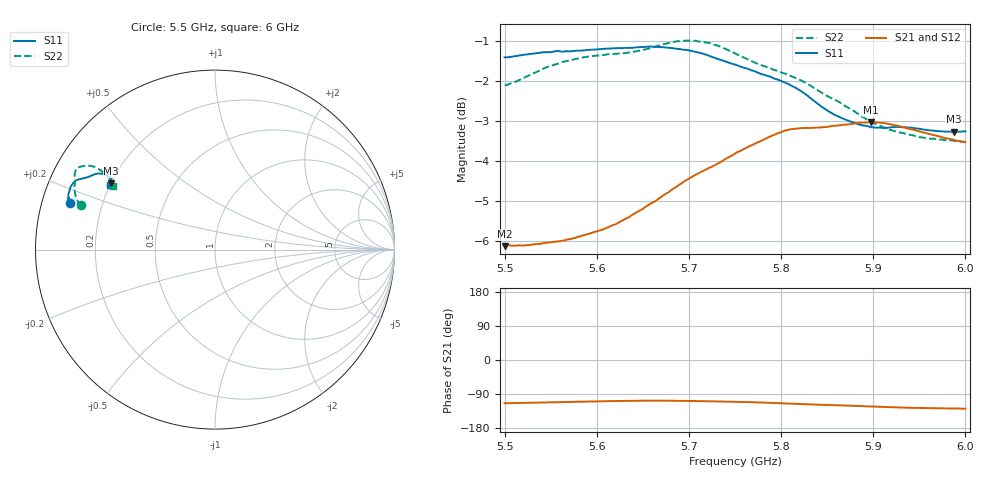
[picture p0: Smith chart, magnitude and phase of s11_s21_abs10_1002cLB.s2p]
! MS46122B
! 1919307/90821646
! 7/29/2022 12:58:50 PM
! C:\USERS\PC_\DESKTOP\MEDICIONES\BANCHA ESTRECHA\55_6GHZ\S11_S21_ABS10_1002CL.S2P
! CHANNEL.1
! TR.MEASUREMENT
! CORRECTED.DATA
# GHZ S RI R 50.0
! FREQ.GHZ  S11RE  S11IM  S21RE  S21IM  S12RE  S12IM  S22RE  S22IM
!; PortSelection: Port_12
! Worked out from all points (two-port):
!   201 points, 5.5 GHz to 6 GHz, reference 50 ohm
!   highest |S21| = -3.03 dB at 5.897 GHz (marker M1); lowest = -6.1 dB at 5.5 GHz (marker M2)
!   |S21| within 3 dB of the highest: 5.551 GHz to end of sweep
!   lowest |S11| = -3.3 dB at 5.987 GHz (marker M3), VSWR 5.37, Z = 10.1 + j14 ohm
!   |S11| at or under -10 dB: nowhere
!   |S22| runs from -3.5 to -1.0 dB; largest |S21 - S12| = 0.015
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5.5  -0.8099 0.2591  -0.2003 -0.4511  -0.1965 -0.4524  -0.7445 0.2471
5.5125  -0.8121 0.2628  -0.197 -0.4534  -0.1904 -0.4531  -0.7522 0.2512
5.5225  -0.8143 0.2673  -0.193 -0.4556  -0.1862 -0.4556  -0.76 0.2606
5.55  -0.8155 0.2824  -0.1827 -0.4645  -0.1741 -0.4657  -0.7757 0.2945
5.585  -0.8162 0.2928  -0.1738 -0.4785  -0.1649 -0.483  -0.7825 0.3323
5.6275  -0.8148 0.313  -0.1646 -0.505  -0.1574 -0.5093  -0.7811 0.3602
5.6675  -0.8007 0.3545  -0.169 -0.5405  -0.1617 -0.5454  -0.7813 0.4045
5.685  -0.7893 0.371  -0.1771 -0.5567  -0.1705 -0.5612  -0.7818 0.425
5.7025  -0.7768 0.3833  -0.1871 -0.5724  -0.1834 -0.5772  -0.775 0.4429
5.7225  -0.7587 0.3914  -0.2009 -0.5853  -0.1995 -0.5904  -0.7576 0.4594
5.75  -0.7313 0.3982  -0.2245 -0.6042  -0.2231 -0.6061  -0.7222 0.4672
5.7725  -0.7086 0.4042  -0.2471 -0.6163  -0.2422 -0.6191  -0.6948 0.4657
5.7975  -0.6788 0.4167  -0.2779 -0.6249  -0.2761 -0.6269  -0.6733 0.4614
5.815  -0.6544 0.4241  -0.2996 -0.6239  -0.2987 -0.6248  -0.6598 0.4559
5.835  -0.6215 0.4218  -0.3216 -0.6153  -0.3181 -0.6143  -0.6404 0.444
5.86  -0.5935 0.4058  -0.3437 -0.608  -0.3365 -0.606  -0.6177 0.4272
5.8975  -0.5785 0.3857  -0.3818 -0.593  -0.3731 -0.5913  -0.5816 0.4012
5.9175  -0.5792 0.383  -0.3962 -0.579  -0.3899 -0.5745  -0.573 0.3847
5.9425  -0.5782 0.3842  -0.4094 -0.5565  -0.3988 -0.5498  -0.5733 0.3647
5.955  -0.5757 0.3813  -0.4101 -0.5482  -0.3964 -0.5419  -0.5738 0.355
5.9875  -0.5789 0.3683  -0.4126 -0.5285  -0.3989 -0.5288  -0.57 0.3497
6  -0.5841 0.3619  -0.4151 -0.521  -0.4015 -0.523  -0.5664 0.3516
